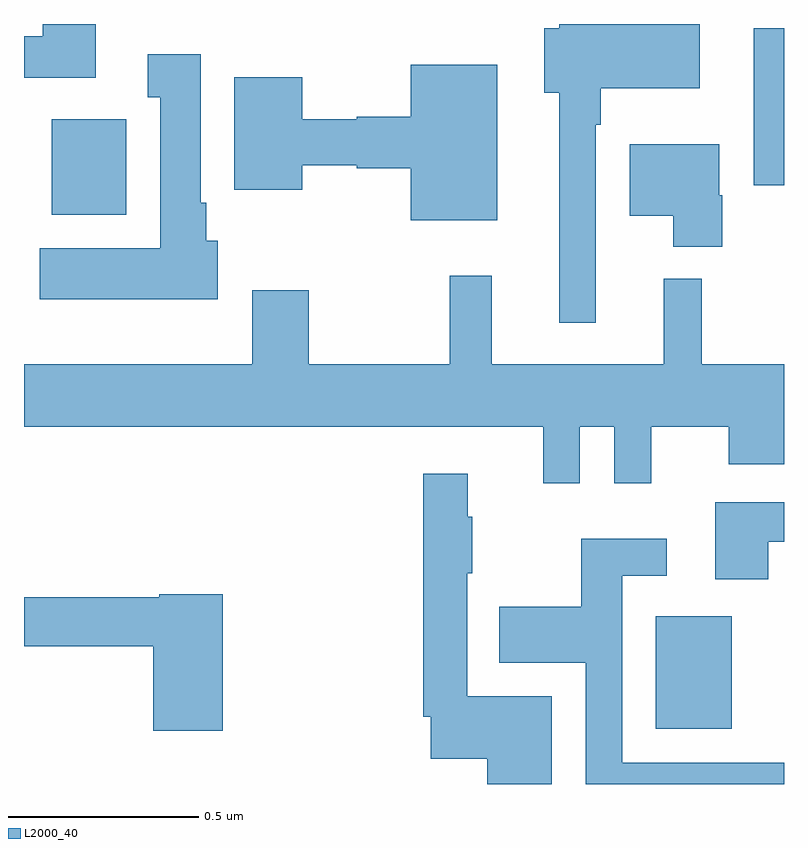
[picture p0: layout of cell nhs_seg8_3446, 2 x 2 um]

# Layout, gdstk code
import gdstk
lib = gdstk.Library(unit=1e-6, precision=1e-09)
def R(c, l, rs):  # rectangles x0, y0, x1, y1
    for r in rs: c.add(gdstk.rectangle(r[:2], r[2:], *l))
def P(c, l, *ps):  # polygons
    for p in ps: c.add(gdstk.Polygon(p, *l))
L2000_40 = (2000, 40)

nhs_seg8_3446 = lib.new_cell('nhs_seg8_3446')
R(nhs_seg8_3446, L2000_40, [(158.663,1109.045,158.863,1109.341), (157.073,1110.398,157.269,1110.649), (158.921,1110.476,159,1110.889)])
P(nhs_seg8_3446, L2000_40, [(158.505,1110.635),(158.518,1110.635),(158.518,1110.731),(158.778,1110.731),(158.778,1110.9),(158.408,1110.9),(158.408,1110.889),(158.369,1110.889),(158.369,1110.719),(158.408,1110.719),(158.408,1110.114),(158.505,1110.114)],
  [(157.189,1110.9),(157.049,1110.9),(157.049,1110.868),(157,1110.868),(157,1110.758),(157.189,1110.758)],
  [(157.51,1110.33),(157.48,1110.33),(157.48,1110.43),(157.465,1110.43),(157.465,1110.82),(157.325,1110.82),(157.325,1110.707),(157.358,1110.707),(157.358,1110.31),(157.041,1110.31),(157.041,1110.176),(157.51,1110.176)],
  [(158.245,1110.793),(158.018,1110.793),(158.018,1110.656),(157.875,1110.656),(157.875,1110.649),(157.732,1110.649),(157.732,1110.76),(157.553,1110.76),(157.553,1110.464),(157.732,1110.464),(157.732,1110.528),(157.875,1110.528),(157.875,1110.52),(158.018,1110.52),(158.018,1110.383),(158.245,1110.383)],
  [(158.838,1110.45),(158.83,1110.45),(158.83,1110.583),(158.594,1110.583),(158.594,1110.395),(158.708,1110.395),(158.708,1110.314),(158.838,1110.314)],
  [(158.463,1109.84),(158.553,1109.84),(158.553,1109.691),(158.651,1109.691),(158.651,1109.84),(158.855,1109.84),(158.855,1109.741),(159,1109.741),(159,1110.004),(158.784,1110.004),(158.784,1110.229),(158.684,1110.229),(158.684,1110.004),(158.231,1110.004),(158.231,1110.238),(158.121,1110.238),(158.121,1110.004),(157.749,1110.004),(157.749,1110.199),(157.601,1110.199),(157.601,1110.004),(157,1110.004),(157,1109.84),(158.366,1109.84),(158.366,1109.691),(158.463,1109.691)],
  [(158.389,1109.131),(158.166,1109.131),(158.166,1109.455),(158.179,1109.455),(158.179,1109.603),(158.168,1109.603),(158.168,1109.716),(158.05,1109.716),(158.05,1109.077),(158.07,1109.077),(158.07,1108.966),(158.219,1108.966),(158.219,1108.9),(158.389,1108.9)],
  [(158.959,1109.537),(159,1109.537),(159,1109.641),(158.819,1109.641),(158.819,1109.439),(158.959,1109.439)],
  [(159,1108.956),(158.574,1108.956),(158.574,1109.448),(158.692,1109.448),(158.692,1109.545),(158.466,1109.545),(158.466,1109.367),(158.251,1109.367),(158.251,1109.219),(158.478,1109.219),(158.478,1108.9),(159,1108.9)],
  [(157.523,1109.4),(157.356,1109.4),(157.356,1109.392),(157,1109.392),(157,1109.263),(157.34,1109.263),(157.34,1109.04),(157.523,1109.04)])

lib.write_gds('nhs_seg8_3446.gds')
